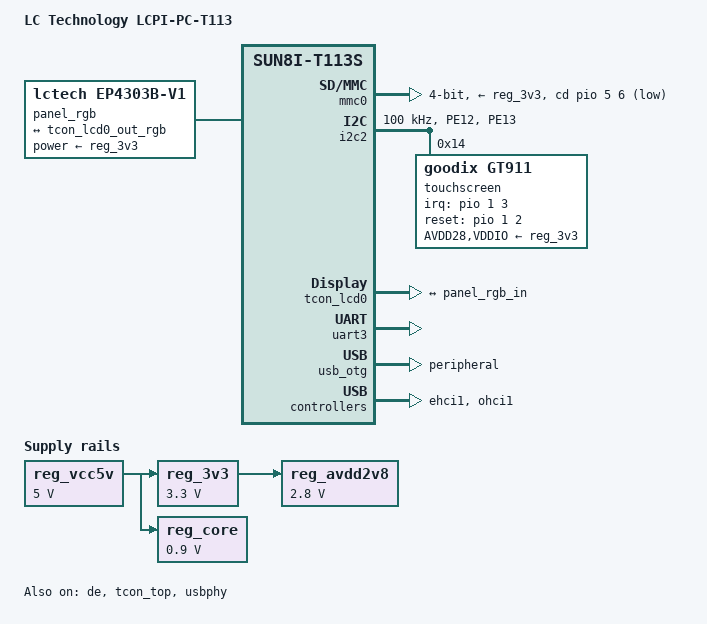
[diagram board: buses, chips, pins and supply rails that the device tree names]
// SPDX-License-Identifier: (GPL-2.0+ OR MIT)
// LC Technology LCPI-PC-T113 mainline bring-up

/dts-v1/;

#include "sun8i-t113s.dtsi"

#include <dt-bindings/gpio/gpio.h>
#include <dt-bindings/interrupt-controller/irq.h>

/ {
	model = "LC Technology LCPI-PC-T113";
	compatible = "lctech,lcpi-pc-t113", "allwinner,sun8i-t113s";

	aliases {
		serial3 = &uart3;
	};

	chosen {
		stdout-path = "serial3:115200n8";
	};

	reg_vcc5v: regulator-5v {
		compatible = "regulator-fixed";
		regulator-name = "vcc-5v";
		regulator-min-microvolt = <5000000>;
		regulator-max-microvolt = <5000000>;
		regulator-always-on;
		regulator-boot-on;
	};

	reg_3v3: regulator-3v3 {
		compatible = "regulator-fixed";
		regulator-name = "vcc-3v3";
		regulator-min-microvolt = <3300000>;
		regulator-max-microvolt = <3300000>;
		vin-supply = <&reg_vcc5v>;
		regulator-always-on;
		regulator-boot-on;
	};

	reg_core: regulator-core {
		compatible = "regulator-fixed";
		regulator-name = "vcc-core";
		regulator-min-microvolt = <900000>;
		regulator-max-microvolt = <900000>;
		vin-supply = <&reg_vcc5v>;
		regulator-always-on;
		regulator-boot-on;
	};

	reg_avdd2v8: regulator-avdd2v8 {
		compatible = "regulator-fixed";
		regulator-name = "avdd2v8";
		regulator-min-microvolt = <2800000>;
		regulator-max-microvolt = <2800000>;
		vin-supply = <&reg_3v3>;
		regulator-always-on;
		regulator-boot-on;
	};

	panel_rgb: panel {
		/* EYA EP4303B-V1: ST7282, 4.3 inch RGB-TTL panel. */
		compatible = "lctech,ep4303b-v1", "panel-dpi";
		power-supply = <&reg_3v3>;
		width-mm = <95>;
		height-mm = <54>;

		panel-timing {
			/* EP4303B-DCT data sheet, typical 9 MHz timing. */
			clock-frequency = <9000000>;
			hactive = <480>;
			hfront-porch = <8>;
			hback-porch = <39>;
			hsync-len = <4>;
			vactive = <272>;
			vfront-porch = <8>;
			vback-porch = <8>;
			vsync-len = <4>;
			hsync-active = <0>;
			vsync-active = <0>;
			de-active = <1>;
			/* Panel samples data on DCLK falling edge. */
			pixelclk-active = <1>;
		};

		port {
			panel_rgb_in: endpoint {
				remote-endpoint = <&tcon_lcd0_out_rgb>;
			};
		};
	};
};

&cpu0 {
	cpu-supply = <&reg_core>;
};

&cpu1 {
	cpu-supply = <&reg_core>;
};

&dcxo {
	clock-frequency = <24000000>;
};

&de {
	status = "okay";
};

&lcd_rgb666_pins {
	drive-strength = <30>;
	bias-disable;
};

&mmc0 {
	pinctrl-0 = <&mmc0_pins>;
	pinctrl-names = "default";
	vmmc-supply = <&reg_3v3>;
	cd-gpios = <&pio 5 6 GPIO_ACTIVE_LOW>;
	disable-wp;
	bus-width = <4>;
	status = "okay";
};

&mmc0_pins {
	drive-strength = <30>;
	bias-pull-up;
};

&pio {
	vcc-pb-supply = <&reg_3v3>;
	vcc-pc-supply = <&reg_3v3>;
	vcc-pd-supply = <&reg_3v3>;
	vcc-pe-supply = <&reg_avdd2v8>;
	vcc-pf-supply = <&reg_3v3>;
	vcc-pg-supply = <&reg_3v3>;

	i2c2_pe_pins: i2c2-pe-pins {
		pins = "PE12", "PE13";
		function = "i2c2";
		drive-strength = <10>;
		bias-disable;
	};
};

/*
 * EP4303B-DCT's GT911 is on the dedicated CTP FPC connector (P4).
 * P4 uses PB2/PB3 for reset/interrupt and PE12/PE13 for I2C2.
 */
&i2c2 {
	pinctrl-names = "default";
	pinctrl-0 = <&i2c2_pe_pins>;
	clock-frequency = <100000>;
	status = "okay";

	touchscreen@14 {
		compatible = "goodix,gt911";
		reg = <0x14>;
		interrupt-parent = <&pio>;
		interrupts = <1 3 IRQ_TYPE_EDGE_FALLING>;
		irq-gpios = <&pio 1 3 GPIO_ACTIVE_HIGH>;
		reset-gpios = <&pio 1 2 GPIO_ACTIVE_HIGH>;
		AVDD28-supply = <&reg_3v3>;
		VDDIO-supply = <&reg_3v3>;
		touchscreen-size-x = <480>;
		touchscreen-size-y = <272>;
		status = "okay";
	};
};

&tcon_lcd0 {
	pinctrl-names = "default";
	pinctrl-0 = <&lcd_rgb666_pins>;
	status = "okay";

	ports {
		port@1 {
			tcon_lcd0_out_rgb: endpoint@0 {
				reg = <0>;
				remote-endpoint = <&panel_rgb_in>;
			};
		};
	};
};

&tcon_top {
	status = "okay";
};

&uart0 {
	status = "disabled";
};

&uart3 {
	pinctrl-names = "default";
	pinctrl-0 = <&uart3_pb_pins>;
	status = "okay";
};

/* USB0 is the Type-C device port; USB1 is the host port. */
&usb_otg {
	dr_mode = "peripheral";
	status = "okay";
};

&usbphy {
	usb1_vbus-supply = <&reg_vcc5v>;
	status = "okay";
};

&ehci1 {
	status = "okay";
};

&ohci1 {
	status = "okay";
};
